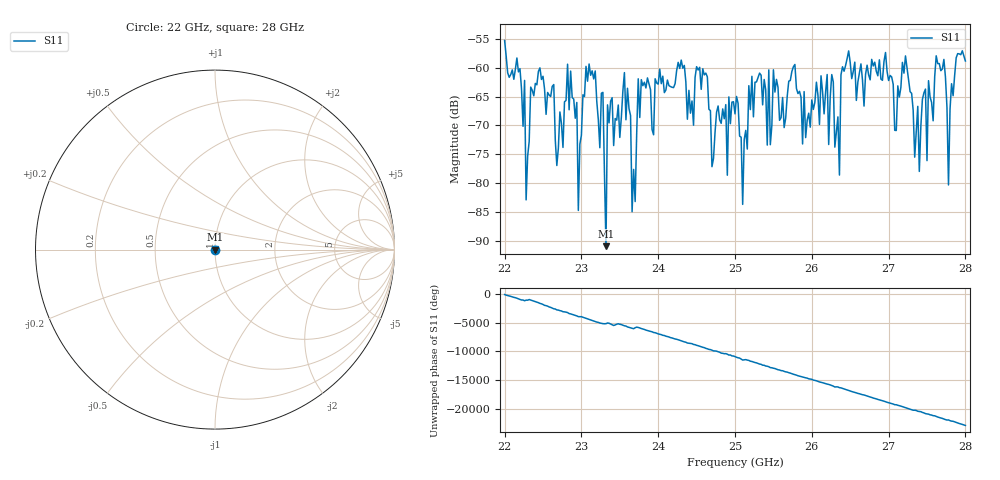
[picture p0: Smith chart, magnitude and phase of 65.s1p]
#  HZ  S  RI  R  50.00
! Rohde & Schwarz ZVA40 4Ports - Version 3.90 - 1145.1110k42 SN: 100403
! Date: 2023-10-04 11:19:56
! Measurement: S12
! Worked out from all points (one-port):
!   301 points, 22 GHz to 28 GHz, reference 50 ohm
!   lowest |S11| = -90.9 dB at 23.32 GHz (marker M1), VSWR 1.00, Z = 50 - j0.00284 ohm
!   |S11| at or under -10 dB: start of sweep to end of sweep
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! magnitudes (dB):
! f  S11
! 22 GHz  -55.3
! 22.26 GHz  -62.2
! 22.28 GHz  -82.9
! 22.46 GHz  -60.0
! 22.76 GHz  -73.8
! 22.86 GHz  -60.6
! 22.96 GHz  -84.7
! 23.1 GHz  -59.3
! 23.32 GHz  -90.9
! 23.5 GHz  -72.1
! 24.26 GHz  -59.1
! 24.64 GHz  -61.6
! 24.7 GHz  -77.1
! 25 GHz  -68.0
! 25.1 GHz  -83.7
! 25.22 GHz  -61.5
! 25.76 GHz  -59.8
! 25.88 GHz  -73.2
! 26.26 GHz  -61.2
! 26.36 GHz  -78.6
! 26.38 GHz  -61.2
! 26.5 GHz  -59.1
! 27.26 GHz  -62.0
! 27.4 GHz  -78.0
! 27.72 GHz  -58.6
! 27.78 GHz  -80.3
! 27.82 GHz  -62.8
! 28 GHz  -58.8
